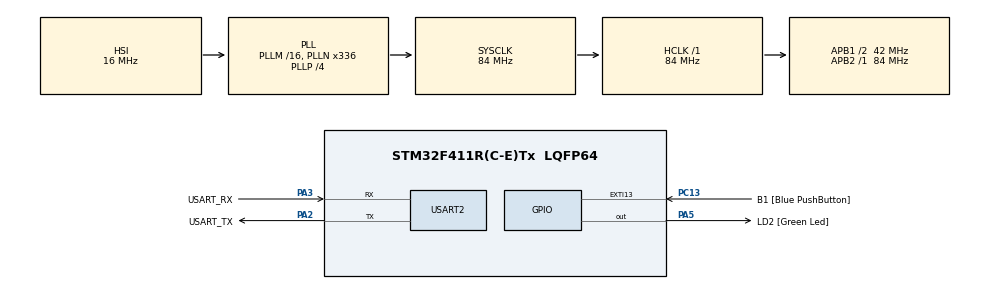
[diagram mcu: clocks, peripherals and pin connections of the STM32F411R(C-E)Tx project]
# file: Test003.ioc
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Mcu.Family=STM32F4
Mcu.Name=STM32F411R(C-E)Tx
Mcu.Package=LQFP64
NVIC.PriorityGroup=NVIC_PRIORITYGROUP_0
PA13.GPIO_Label=TMS
PA13.Mode=Serial_Wire
PA13.Signal=SYS_JTMS-SWDIO
PA14.GPIO_Label=TCK
PA14.Mode=Serial_Wire
PA14.Signal=SYS_JTCK-SWCLK
PA2.GPIO_Label=USART_TX
PA2.Mode=Asynchronous
PA2.Signal=USART2_TX
PA3.GPIO_Label=USART_RX
PA3.Mode=Asynchronous
PA3.Signal=USART2_RX
PA5.GPIO_Label=LD2 [Green Led]
PA5.Signal=GPIO_Output
PB3.GPIO_Label=SWO
PB3.Signal=SYS_JTDO-SWO
PC13-ANTI_TAMP.GPIO_Label=B1 [Blue PushButton]
PC13-ANTI_TAMP.GPIO_ModeDefaultEXTI=GPIO_MODE_IT_FALLING
PC13-ANTI_TAMP.Signal=GPXTI13
PC14-OSC32_IN.Mode=LSE-External-Oscillator
PC14-OSC32_IN.Signal=RCC_OSC32_IN
PC15-OSC32_OUT.Mode=LSE-External-Oscillator
PC15-OSC32_OUT.Signal=RCC_OSC32_OUT
PH0\ -\ OSC_IN.Mode=HSE-External-Clock-Source
PH0\ -\ OSC_IN.Signal=RCC_OSC_IN
PH1\ -\ OSC_OUT.Mode=HSE-External-Clock-Source
PH1\ -\ OSC_OUT.Signal=RCC_OSC_OUT
ProjectManager.HeapSize=0x200
ProjectManager.StackSize=0x400
ProjectManager.TargetToolchain=STM32CubeIDE
RCC.48MHZClocksFreq_Value=84000000
RCC.AHBFreq_Value=84000000
RCC.APB1CLKDivider=RCC_HCLK_DIV2
RCC.APB1Freq_Value=42000000
RCC.APB1TimFreq_Value=84000000
RCC.APB2Freq_Value=84000000
RCC.APB2TimFreq_Value=84000000
RCC.CortexFreq_Value=84000000
RCC.FLatency-AdvancedSettings=FLASH_LATENCY_2
RCC.HCLKFreq_Value=84000000
RCC.HSE_VALUE=8000000
RCC.HSI_VALUE=16000000
RCC.PLLN=336
RCC.PLLP=RCC_PLLP_DIV4
RCC.SYSCLKFreq_VALUE=84000000
RCC.SYSCLKSource=RCC_SYSCLKSOURCE_PLLCLK
RCC.VCOOutputFreq_Value=336000000
USART2.VirtualMode=VM_ASYNC
board=NUCLEO-F411RE

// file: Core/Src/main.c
/* USER CODE BEGIN Header */
/**
  ******************************************************************************
  * @file           : main.c
  * @brief          : Main program body
  ******************************************************************************
  * @attention
  *
  * Copyright (c) 2024 STMicroelectronics.
  * All rights reserved.
  *
  * This software is licensed under terms that can be found in the LICENSE file
  * in the root directory of this software component.
  * If no LICENSE file comes with this software, it is provided AS-IS.
  *
  ******************************************************************************
  */
/* USER CODE END Header */
#include "main.h"

UART_HandleTypeDef huart2;

void SystemClock_Config(void);
static void MX_GPIO_Init(void);
static void MX_USART2_UART_Init(void);

/* USER CODE BEGIN 0 */
//int __io_getchar(void)
int __io_putchar(int ch)  //4byte
{
	HAL_UART_Transmit(&huart2, &ch, 1, 10);
	return ch;
}

void Standby()
{
		while(HAL_GPIO_ReadPin(B1_GPIO_Port, B1_Pin)); //wait until B1 == 0 (Press)
}

void ProgramStart (char * str)
{
	printf("\033[2J\033[0;0H");
	printf("Program Name - %s\r\n", *str);
	printf("Press Blue-button(B1) to Start...\r\n");
	Standby();
}

void cls()
{
	printf("\033[2J");
}
void Cursor(int x, int y)
{
	char buf[20];
	sprintf(buf, "\033[%d;%dH", y, x);
	puts(buf);
}

/* USER CODE END 0 */

int main(void)
{

  /* MCU Configuration--------------------------------------------------------*/

  /* Reset of all peripherals, Initializes the Flash interface and the Systick. */
  HAL_Init();

  /* Configure the system clock */
  SystemClock_Config();

  /* Initialize all configured peripherals */
  MX_GPIO_Init();
  MX_USART2_UART_Init();
  /* USER CODE BEGIN 2 */

  ProgramStart("UART");
  /* USER CODE END 2 */

  /* Infinite loop */
  /* USER CODE BEGIN WHILE */
int count = 0;
  while (1)
  {
	  double a = count++ / 3.14;
	  printf("UART Test .... %6.2f\r\n", a);
	  HAL_Delay(500);
    /* USER CODE END WHILE */

  }
}

void SystemClock_Config(void)
{
  RCC_OscInitTypeDef RCC_OscInitStruct = {0};
  RCC_ClkInitTypeDef RCC_ClkInitStruct = {0};

  /** Configure the main internal regulator output voltage
  */
  __HAL_RCC_PWR_CLK_ENABLE();
  __HAL_PWR_VOLTAGESCALING_CONFIG(PWR_REGULATOR_VOLTAGE_SCALE1);

  /** Initializes the RCC Oscillators according to the specified parameters
  * in the RCC_OscInitTypeDef structure.
  */
  RCC_OscInitStruct.OscillatorType = RCC_OSCILLATORTYPE_HSI;
  RCC_OscInitStruct.HSIState = RCC_HSI_ON;
  RCC_OscInitStruct.HSICalibrationValue = RCC_HSICALIBRATION_DEFAULT;
  RCC_OscInitStruct.PLL.PLLState = RCC_PLL_ON;
  RCC_OscInitStruct.PLL.PLLSource = RCC_PLLSOURCE_HSI;
  RCC_OscInitStruct.PLL.PLLM = 16;
  RCC_OscInitStruct.PLL.PLLN = 336;
  RCC_OscInitStruct.PLL.PLLP = RCC_PLLP_DIV4;
  RCC_OscInitStruct.PLL.PLLQ = 4;
  if (HAL_RCC_OscConfig(&RCC_OscInitStruct) != HAL_OK)
  {
    Error_Handler();
  }

  /** Initializes the CPU, AHB and APB buses clocks
  */
  RCC_ClkInitStruct.ClockType = RCC_CLOCKTYPE_HCLK|RCC_CLOCKTYPE_SYSCLK
                              |RCC_CLOCKTYPE_PCLK1|RCC_CLOCKTYPE_PCLK2;
  RCC_ClkInitStruct.SYSCLKSource = RCC_SYSCLKSOURCE_PLLCLK;
  RCC_ClkInitStruct.AHBCLKDivider = RCC_SYSCLK_DIV1;
  RCC_ClkInitStruct.APB1CLKDivider = RCC_HCLK_DIV2;
  RCC_ClkInitStruct.APB2CLKDivider = RCC_HCLK_DIV1;

  if (HAL_RCC_ClockConfig(&RCC_ClkInitStruct, FLASH_LATENCY_2) != HAL_OK)
  {
    Error_Handler();
  }
}

static void MX_USART2_UART_Init(void)
{

  huart2.Instance = USART2;
  huart2.Init.BaudRate = 115200;
  huart2.Init.WordLength = UART_WORDLENGTH_8B;
  huart2.Init.StopBits = UART_STOPBITS_1;
  huart2.Init.Parity = UART_PARITY_NONE;
  huart2.Init.Mode = UART_MODE_TX_RX;
  huart2.Init.HwFlowCtl = UART_HWCONTROL_NONE;
  huart2.Init.OverSampling = UART_OVERSAMPLING_16;
  if (HAL_UART_Init(&huart2) != HAL_OK)
  {
    Error_Handler();
  }

}

static void MX_GPIO_Init(void)
{
  GPIO_InitTypeDef GPIO_InitStruct = {0};

  /* GPIO Ports Clock Enable */
  __HAL_RCC_GPIOC_CLK_ENABLE();
  __HAL_RCC_GPIOH_CLK_ENABLE();
  __HAL_RCC_GPIOA_CLK_ENABLE();
  __HAL_RCC_GPIOB_CLK_ENABLE();

  /*Configure GPIO pin Output Level */
  HAL_GPIO_WritePin(LD2_GPIO_Port, LD2_Pin, GPIO_PIN_RESET);

  /*Configure GPIO pin : B1_Pin */
  GPIO_InitStruct.Pin = B1_Pin;
  GPIO_InitStruct.Mode = GPIO_MODE_IT_FALLING;
  GPIO_InitStruct.Pull = GPIO_NOPULL;
  HAL_GPIO_Init(B1_GPIO_Port, &GPIO_InitStruct);

  /*Configure GPIO pin : LD2_Pin */
  GPIO_InitStruct.Pin = LD2_Pin;
  GPIO_InitStruct.Mode = GPIO_MODE_OUTPUT_PP;
  GPIO_InitStruct.Pull = GPIO_NOPULL;
  GPIO_InitStruct.Speed = GPIO_SPEED_FREQ_LOW;
  HAL_GPIO_Init(LD2_GPIO_Port, &GPIO_InitStruct);

}

void Error_Handler(void)
{
  __disable_irq();
  while (1)
  {
  }
}
